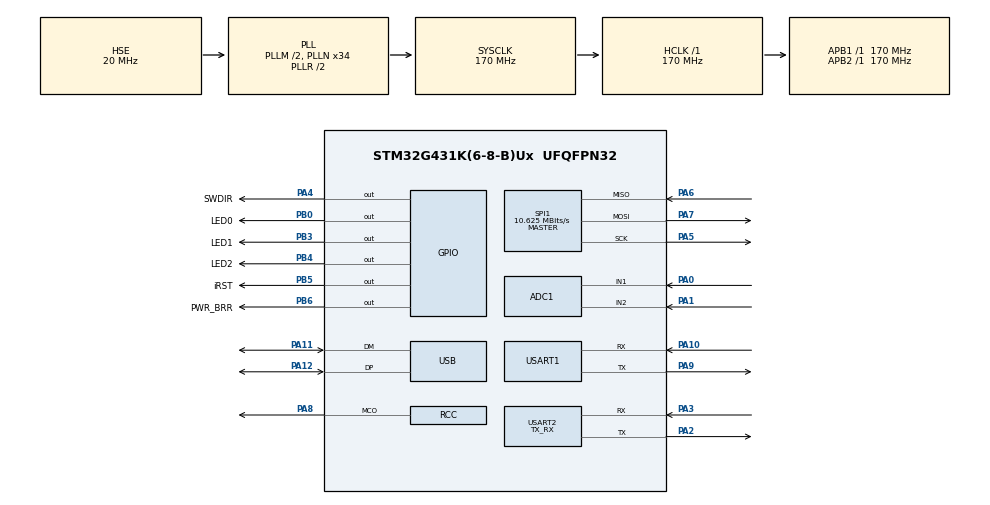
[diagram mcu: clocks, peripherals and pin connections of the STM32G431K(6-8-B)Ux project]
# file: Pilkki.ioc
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ADC1.Channel-0\#ChannelRegularConversion=ADC_CHANNEL_1
ADC1.Channel-1\#ChannelRegularConversion=ADC_CHANNEL_1
ADC1.ClockPrescaler=ADC_CLOCK_ASYNC_DIV8
ADC1.ContinuousConvMode=ENABLE
ADC1.DMAContinuousRequests=ENABLE
ADC1.EOCSelection=ADC_EOC_SEQ_CONV
ADC1.NbrOfConversion=2
ADC1.NbrOfConversionFlag=1
ADC1.OffsetNumber-0\#ChannelRegularConversion=ADC_OFFSET_NONE
ADC1.OffsetNumber-1\#ChannelRegularConversion=ADC_OFFSET_NONE
ADC1.OversamplingMode=ENABLE
ADC1.Rank-0\#ChannelRegularConversion=1
ADC1.Rank-1\#ChannelRegularConversion=2
ADC1.Ratio=ADC_OVERSAMPLING_RATIO_256
ADC1.RightBitShift=ADC_RIGHTBITSHIFT_4
ADC1.SamplingTime-0\#ChannelRegularConversion=ADC_SAMPLETIME_12CYCLES_5
ADC1.SamplingTime-1\#ChannelRegularConversion=ADC_SAMPLETIME_12CYCLES_5
ADC1.master=1
CRC.InputDataFormat=CRC_INPUTDATA_FORMAT_WORDS
CRC.InputDataInversionMode=CRC_INPUTDATA_INVERSION_WORD
CRC.OutputDataInversionMode=CRC_OUTPUTDATA_INVERSION_ENABLE
Dma.ADC1.0.Direction=DMA_PERIPH_TO_MEMORY
Dma.ADC1.0.EventEnable=DISABLE
Dma.ADC1.0.Instance=DMA1_Channel1
Dma.ADC1.0.MemDataAlignment=DMA_MDATAALIGN_HALFWORD
Dma.ADC1.0.MemInc=DMA_MINC_ENABLE
Dma.ADC1.0.Mode=DMA_CIRCULAR
Dma.ADC1.0.PeriphDataAlignment=DMA_PDATAALIGN_HALFWORD
Dma.ADC1.0.PeriphInc=DMA_PINC_DISABLE
Dma.ADC1.0.Polarity=HAL_DMAMUX_REQ_GEN_RISING
Dma.ADC1.0.Priority=DMA_PRIORITY_LOW
Dma.ADC1.0.RequestNumber=1
Dma.ADC1.0.SignalID=NONE
Dma.ADC1.0.SyncEnable=DISABLE
Dma.ADC1.0.SyncPolarity=HAL_DMAMUX_SYNC_NO_EVENT
Dma.ADC1.0.SyncRequestNumber=1
Dma.ADC1.0.SyncSignalID=NONE
Dma.Request0=ADC1
Mcu.Family=STM32G4
Mcu.Name=STM32G431K(6-8-B)Ux
Mcu.Package=UFQFPN32
NVIC.ADC1_2_IRQn=true\:1\:0\:true\:false\:true\:true\:true\:true
NVIC.DMA1_Channel1_IRQn=true\:0\:0\:false\:false\:true\:false\:true\:true
NVIC.PriorityGroup=NVIC_PRIORITYGROUP_4
NVIC.USB_LP_IRQn=true\:0\:0\:false\:false\:true\:false\:true\:true
PA0.Mode=IN1-Single-Ended
PA0.Signal=ADC1_IN1
PA1.Mode=IN2-Single-Ended
PA1.Signal=ADC1_IN2
PA10.Mode=Asynchronous
PA10.Signal=USART1_RX
PA11.Mode=Device
PA11.Signal=USB_DM
PA12.Mode=Device
PA12.Signal=USB_DP
PA13.Mode=Serial_Wire
PA13.Signal=SYS_JTMS-SWDIO
PA14.Mode=Serial_Wire
PA14.Signal=SYS_JTCK-SWCLK
PA2.Mode=Asynchronous
PA2.Signal=USART2_TX
PA3.Mode=Asynchronous
PA3.Signal=USART2_RX
PA4.GPIO_Label=SWDIR
PA4.GPIO_ModeDefaultOutputPP=GPIO_MODE_OUTPUT_PP
PA4.GPIO_PuPd=GPIO_NOPULL
PA4.GPIO_Speed=GPIO_SPEED_FREQ_VERY_HIGH
PA4.PinState=GPIO_PIN_RESET
PA4.Signal=GPIO_Output
PA5.GPIO_Speed=GPIO_SPEED_FREQ_VERY_HIGH
PA5.Mode=Full_Duplex_Master
PA5.Signal=SPI1_SCK
PA6.GPIO_PuPd=GPIO_PULLUP
PA6.GPIO_Speed=GPIO_SPEED_FREQ_VERY_HIGH
PA6.Mode=Full_Duplex_Master
PA6.Signal=SPI1_MISO
PA7.GPIO_Speed=GPIO_SPEED_FREQ_VERY_HIGH
PA7.Mode=Full_Duplex_Master
PA7.Signal=SPI1_MOSI
PA8.Mode=Clock-out
PA8.Signal=RCC_MCO
PA9.Mode=Asynchronous
PA9.Signal=USART1_TX
PB0.GPIO_Label=LED0
PB0.Signal=GPIO_Output
PB3.GPIO_Label=LED1
PB3.Signal=GPIO_Output
PB4.GPIO_Label=LED2
PB4.Signal=GPIO_Output
PB5.GPIO_Label=iRST
PB5.Signal=GPIO_Output
PB6.GPIO_Label=PWR_BRR
PB6.PinState=GPIO_PIN_SET
PB6.Signal=GPIO_Output
PF0-OSC_IN.Mode=HSE-External-Oscillator
PF0-OSC_IN.Signal=RCC_OSC_IN
PF1-OSC_OUT.Mode=HSE-External-Oscillator
PF1-OSC_OUT.Signal=RCC_OSC_OUT
ProjectManager.HeapSize=0x200
ProjectManager.StackSize=0x400
ProjectManager.TargetToolchain=STM32CubeIDE
RCC.ADC12Freq_Value=170000000
RCC.AHBFreq_Value=170000000
RCC.APB1Freq_Value=170000000
RCC.APB1TimFreq_Value=170000000
RCC.APB2Freq_Value=170000000
RCC.APB2TimFreq_Value=170000000
RCC.CK48CLockSelection=RCC_USBCLKSOURCE_HSI48
RCC.CortexFreq_Value=170000000
RCC.EXTERNAL_CLOCK_VALUE=12288000
RCC.HCLKFreq_Value=170000000
RCC.HSE_VALUE=20000000
RCC.HSI48_VALUE=48000000
RCC.HSI_VALUE=16000000
RCC.LSE_VALUE=32768
RCC.PLLM=RCC_PLLM_DIV2
RCC.PLLN=34
RCC.PLLSourceVirtual=RCC_PLLSOURCE_HSE
RCC.PREFETCH_ENABLE=1
RCC.RCC_MCO1Source=RCC_MCO1SOURCE_HSE
RCC.RCC_MCODiv=RCC_MCODIV_4
RCC.SYSCLKFreq_VALUE=170000000
RCC.SYSCLKSource=RCC_SYSCLKSOURCE_PLLCLK
RCC.USBFreq_Value=48000000
RCC.VCOOutputFreq_Value=340000000
SPI1.BaudRatePrescaler=SPI_BAUDRATEPRESCALER_16
SPI1.CLKPhase=SPI_PHASE_1EDGE
SPI1.CLKPolarity=SPI_POLARITY_LOW
SPI1.CalculateBaudRate=10.625 MBits/s
SPI1.DataSize=SPI_DATASIZE_8BIT
SPI1.Direction=SPI_DIRECTION_2LINES
SPI1.FirstBit=SPI_FIRSTBIT_LSB
SPI1.Mode=SPI_MODE_MASTER
SPI1.VirtualType=VM_MASTER
USART1.VirtualMode-Asynchronous=VM_ASYNC
USART2.Mode=MODE_TX_RX
USART2.SwapParam=ADVFEATURE_SWAP_DISABLE
USART2.VirtualMode-Asynchronous=VM_ASYNC
USB.Sof_enable=DISABLE
USB_DEVICE.CLASS_NAME_FS=CDC
USB_DEVICE.USBD_MAX_NUM_INTERFACES=2
USB_DEVICE.VirtualMode=Cdc
USB_DEVICE.VirtualModeFS=Cdc_FS
VP_CRC_VS_CRC.Mode=CRC_Activate
VP_RNG_VS_RNG.Mode=RNG_Activate
VP_USB_DEVICE_VS_USB_DEVICE_CDC_FS.Mode=CDC_FS
board=custom

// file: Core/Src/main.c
/* USER CODE BEGIN Header */
/**
  ******************************************************************************
  * @file           : main.c
  * @brief          : Main program body
  ******************************************************************************
  * @attention
  *
  * Copyright (c) 2023 STMicroelectronics.
  * All rights reserved.
  *
  * This software is licensed under terms that can be found in the LICENSE file
  * in the root directory of this software component.
  * If no LICENSE file comes with this software, it is provided AS-IS.
  *
  ******************************************************************************
  */
/* USER CODE END Header */
#include "main.h"
#include "adc.h"
#include "crc.h"
#include "dma.h"
#include "rng.h"
#include "spi.h"
#include "usart.h"
#include "usb_device.h"
#include "gpio.h"

/* USER CODE BEGIN Includes */
#include <math.h>
#include <string.h>
#include <stdint.h>
#include <stdio.h>
#include <stdlib.h>
#include <stdarg.h>

#include "dap.h"
#include "utils.h"
#include "flash_write.h"
#include "use_flashloader.h"

#include "efm32.h"

#include "usbd_cdc_if.h"
#include "usbd_cdc.h"
/* USER CODE END Includes */

/* USER CODE BEGIN PD */
#define UART_FIFO	128

#define WRITE_BUFFER 4096

//#define SPI1_DR_8bit (*(__IO uint8_t *)((uint32_t)&(SPI1->DR)))
//#define SPI1_DR_16bit (*(__IO uint16_t *)((uint32_t)&(SPI1->DR)))

#define FIRMWARE_REVISION 19

#define USB_FIFO_RX 1024
/* USER CODE END PD */

/* USER CODE BEGIN PV */

uint32_t Seccount = 0;
char buff[UART_FIFO]; // __attribute__((section(".ram2")));
//char SubBuff[UART_FIFO];
//char UartRX[UART_FIFO];

uint32_t WriteBuffer[WRITE_BUFFER];
volatile uint8_t * WriteBufP;
volatile uint8_t UsbRxFifo[USB_FIFO_RX]; // __attribute__((section(".ram2")));
volatile bool DirectBuf = false;
volatile uint32_t BufReceived;
volatile uint32_t sBytes;

uint16_t RxFifoWrPointer = 0;
uint16_t RxFifoRdPointer = 0;
uint16_t RxFifoRecords = 0;
uint32_t UsbPackBuffer[128]; // __attribute__((section(".ram2")));
uint16_t UsbPackBufferP = 0;
uint32_t UsbSubBuf[128]; // __attribute__((section(".ram2")));

uint32_t Unique_ID_0;

uint32_t PageSize;
uint32_t FlashSize;
uint32_t RamSize;

bool TxBusy = false;
uint32_t tickstart;
uint32_t ErrorFlag = 0;

struct UartDma_t
{
	size_t head, tail;
	uint8_t RingBuff[128];
} UartDma;// __attribute__((section(".ram2")));

uint32_t IdCode;

struct
{
	uint8_t CmdSize;
	char CmdIn[32];
	bool CMD;
} usb;

/* USER CODE END PV */

void SystemClock_Config(void);
/* USER CODE BEGIN PFP */
bool SwdAdrStart(bool APDP, bool RW, uint8_t ADDR);
bool ReadCrc(uint32_t Addr, uint32_t Len, uint32_t * Crc);
/* USER CODE END PFP */

/* USER CODE BEGIN 0 */

uint8_t SpiSendByte(uint8_t data)
{
	while (!(SPI1->SR & SPI_SR_TXE)) ;
	SPI1_DR_8bit = data;
	while (!(SPI1->SR & SPI_SR_RXNE)) ;
	return SPI1_DR_8bit;
}

uint16_t SpiSendWord(uint16_t data)
{
	while (!(SPI1->SR & SPI_SR_TXE)) ;
	SPI1_DR_16bit = data;
	while (!(SPI1->SR & SPI_SR_RXNE)) ;
	return SPI1_DR_16bit;
}

void uPrintf(const char* fmt, ...) {

	uint16_t bts;
	va_list args;
	va_start(args, fmt);
	bts = vsnprintf(buff, sizeof(buff), fmt, args);
	va_end(args);
	//	memcpy(SubBuff, buff, bts);
	//	TxBusy = true;

	tickstart = HAL_GetTick();
	while (CDC_Transmit_FS((uint8_t*)buff, bts))
	{
		if (HAL_GetTick() - tickstart > 100) break;
	}

	//HAL_UART_Transmit_DMA(&huart2, (uint8_t*)SubBuff, bts);
}

void HAL_UART_TxCpltCallback(UART_HandleTypeDef *huart)
{
	if (huart->Instance == huart2.Instance) TxBusy = false;
}

uint8_t FifoGet()
{

	__disable_irq();
	if (RxFifoRecords) {
		uint8_t Data = UsbRxFifo[RxFifoRdPointer++];
		if (RxFifoRdPointer >= USB_FIFO_RX) RxFifoRdPointer = 0;
		RxFifoRecords--;
		__enable_irq();
		return Data;
	}
	__enable_irq();
	return 0;
}

uint16_t FifoSizeGet()
{
	uint16_t Records;
	__disable_irq();
	Records = RxFifoRecords;
	__enable_irq();
	return Records;
}

bool ReadCrc(uint32_t Addr, uint32_t Len, uint32_t * Crc)
{
	static uint32_t Size, Wrd, addr;
	__HAL_CRC_DR_RESET(&hcrc);
	haltTarget();
	uint32_t tarWrap =  getTarWrap();

	if (ErrorFlag != 1) uPrintf("Connect error\r\n");
	else
	{
		writeAP(AP_CSW, AP_CSW_DEFAULT | AP_CSW_AUTO_INCREMENT);
		writeAP(AP_TAR, Addr);
		readAP(AP_DRW, &Wrd);

		uint8_t cr = 0;
		for (uint32_t j = 0; j < Len; j++)
		{
			addr = Addr + (j << 2);
			if ((addr & tarWrap) == 0)
			{
				writeAP(AP_TAR, addr);
				readAP(AP_DRW, &Wrd);
			}
			readAP(AP_DRW, &Wrd);

			CRC->DR = Wrd;
			if (ErrorFlag != 1)
			{
				uPrintf("Read error\r\n");
				return false;
			}
		}

		* Crc = (CRC->DR ^ -1UL);

		writeAP(AP_CSW, AP_CSW_DEFAULT);

		if (ErrorFlag != 1) return false;
	}
	return true;
}

void StartBoot()
{

	MX_USB_DEVICE_Stop();

	HAL_RCC_DeInit();

	SysTick->CTRL = SysTick->LOAD = SysTick->VAL = 0;
	__HAL_SYSCFG_REMAPMEMORY_SYSTEMFLASH();
	__HAL_RCC_SYSCFG_CLK_ENABLE();

	const uint32_t p = (*((uint32_t *) 0x1FFF0000));
	__set_MSP(p);

	void(*SysMemBootJump)(void);
	SysMemBootJump = (void(*)(void))(*((uint32_t *) 0x1FFF0004));
	SysMemBootJump();

	while (1) {}

}

/* USER CODE END 0 */

int main(void)
{

	/* MCU Configuration--------------------------------------------------------*/

	/* Reset of all peripherals, Initializes the Flash interface and the Systick. */
	HAL_Init();

	/* Configure the system clock */
	SystemClock_Config();

	/* Initialize all configured peripherals */
	MX_GPIO_Init();
	MX_DMA_Init();
	MX_ADC1_Init();
	MX_CRC_Init();
	MX_RNG_Init();
	MX_SPI1_Init();
	MX_USART1_UART_Init();
	MX_USART2_UART_Init();
	MX_USB_Device_Init();
	/* USER CODE BEGIN 2 */

	uint8_t i;
	SWDIO_SET_INPUT();

	LEDR(1);
	LEDB(1);
	LEDY(1);

	HAL_Delay(500);

	LEDR(0);
	LEDB(0);
	LEDY(0);

	uPrintf("\r\nReady\r\n");
	usb.CmdSize = 0;
	usb.CMD = true;

	Unique_ID_0 = HAL_CRC_Calculate(&hcrc, (uint32_t *)0x1FFF7590, 12) ^ -1UL;

	SPI1->CR1 |= SPI_CR1_SPE; //en spi
	SPI1->CR2 = 0x1F08; //set 16 bit

	uint32_t Rxd;
	uint16_t Rx1, Rx2;
	uint8_t Rxack;

	while (true)
	{
		if (FifoSizeGet())
		{

			if (usb.CMD)
			{
				usb.CmdIn[usb.CmdSize] = (char)FifoGet();
				if (usb.CmdSize > 31) usb.CmdSize = 0;
				if (usb.CmdIn[usb.CmdSize++] == '\n')
				{
					LEDB(1);
					LEDR(0);

					usb.CmdIn[usb.CmdSize] = 0;
					usb.CmdSize = 0;

					//parsing requests

					if (strstr(usb.CmdIn, "bootloader"))
					{
						uPrintf("Starting Bootloader\r\n***\r\n");
						HAL_Delay(100);
						StartBoot();
					}
					else

						//get maximum rx buffer in 32 bit words
					if (strstr(usb.CmdIn, "bufsize"))
					{
						uPrintf("MaxBuf = %lu Words\r\n***\r\n", WRITE_BUFFER);
					}
					else
						//connect to target
					if (strstr(usb.CmdIn, "con"))
					{
						if (!connectToTarget())
						{
							uPrintf("Connect error\r\n***\r\n");
							LEDR(1);
						}
						else
						{
							PageSize = getPageSize();

							if (ErrorFlag != 1)
							{
								uPrintf("Connect error\r\n***\r\n");
								LEDR(1);
								continue;
							}

							FlashSize = getFlashSize();

							if (ErrorFlag != 1)
							{
								uPrintf("Connect error\r\n***\r\n");
								LEDR(1);
								continue;
							}

							RamSize = getRamSize();

							if (ErrorFlag != 1)
							{
								uPrintf("Connect error\r\n***\r\n");
								LEDR(1);
								continue;
							}

							uPrintf("PageSize %u\r\n", PageSize);
							uPrintf("FlashSize %u\r\n", FlashSize);
							uPrintf("RamSize %u\r\n***\r\n", RamSize);

						}
					}
					else
						//target reset
					if (strstr(usb.CmdIn, "loader"))
					{

						if (LoadLoader()) uPrintf("Loader OK\r\n***\r\n");
						else
						{
							uPrintf("Loader error\r\n***\r\n");
							LEDR(1);
						}

					}
					else
						//target reset
					if (strstr(usb.CmdIn, "res"))
					{
						//hardware reset
						if (strstr(usb.CmdIn, "-h"))
						{
							uPrintf("Resetting (hard)\r\n");
							hardResetTarget();
							uPrintf("Hard reset OK\r\n***\r\n");
						}
						else
						{
							uPrintf("Resetting (soft)\r\n");
							resetTarget();
							if (ErrorFlag == 1) uPrintf("Soft reset OK\r\n***\r\n");
							else
							{
								uPrintf("Connect error\r\n***\r\n");
								LEDR(1);
							}
						}
					}
					else
						//erase pages
					if (strstr(usb.CmdIn, "erase"))
					{
						char * pEnd = strstr(usb.CmdIn, " ");
						uint32_t StartAddr, Size, Wrd;
						if (strstr(pEnd, "0x")) StartAddr = strtol(pEnd, &pEnd, 16);
						else StartAddr = strtol(pEnd, &pEnd, 10);

						if (strstr(pEnd, "0x")) Size = strtol(pEnd, &pEnd, 16);
						else Size = strtol(pEnd, &pEnd, 10);

						if (Size == 0 || Size > (FlashSize / PageSize))
						{
							uPrintf("Wrong request\r\n***\r\n");
							LEDR(1);
						}
						else
						{
							uPrintf("Erasing Flash with Loader, Start: 0x%08lX, Len: %u Pages\r\n", StartAddr, Size);

							sendErasePageCmd(StartAddr, Size * PageSize);
							if (ErrorFlag != 1)
							{
								uPrintf("Erase error\r\n***\r\n");
								LEDR(1);
							}
							else uPrintf("Erase Done\r\n***\r\n");

						}

					}
					else
						//read data
					if (strstr(usb.CmdIn, "rd"))
					{
						char * pEnd = strstr(usb.CmdIn, " ");
						static uint32_t StartAddr, Size, Wrd, addr;
						if (strstr(pEnd, "0x")) StartAddr = strtol(pEnd, &pEnd, 16);
						else StartAddr = strtol(pEnd, &pEnd, 10);

						StartAddr &= 0xFFFFFFFC; //words only

						if (strstr(pEnd, "0x")) Size = strtol(pEnd, &pEnd, 16);
						else Size = strtol(pEnd, &pEnd, 10);

						if (Size == 0)
						{
							uPrintf("Wrong request\r\n***\r\n");
							LEDR(1);
						}
						else
						{
							__HAL_CRC_DR_RESET(&hcrc);

							haltTarget();

							uint32_t tarWrap =  getTarWrap();
							if (ErrorFlag != 1)
							{
								uPrintf("Connect error\r\n***\r\n");
								LEDR(1);
							}
							else
							{
								if (strstr(usb.CmdIn, "-h"))
								{

									uPrintf("Reading memory, Start: 0x%08lX, Len: %u Words\r\n", StartAddr, Size);
									writeAP(AP_CSW, AP_CSW_DEFAULT | AP_CSW_AUTO_INCREMENT);
									writeAP(AP_TAR, StartAddr);
									readAP(AP_DRW, &Wrd);

									uint8_t cr = 0;
									for (uint32_t j = 0; j < Size; j++)
									{
										addr = StartAddr + (j << 2);
										if (!cr) uPrintf("0x%08lX: ", addr);

										if ((addr & tarWrap) == 0)
										{
											writeAP(AP_TAR, addr);
											readAP(AP_DRW, &Wrd);
										}
										readAP(AP_DRW, &Wrd);

										CRC->DR = Wrd;
										uPrintf("%08lX ", Wrd);
										if (ErrorFlag != 1)
										{
											uPrintf("\r\nRead error\r\n***\r\n");
											LEDR(1);
											break;
										}
										cr++;
										if (cr == 8)
										{
											uPrintf("\r\n");
											cr = 0;
										}
									}
									if (cr) uPrintf("\r\n");
									uPrintf("CRC: 0x%08lX\r\n", CRC->DR ^ -1UL);
									if (ErrorFlag == 1) uPrintf("Read Done\r\n***\r\n");

									writeAP(AP_CSW, AP_CSW_DEFAULT);

								}
								else
								{
									//uPrintf("Bin,%lu,%lu:", StartAddr, Size);

									UsbPackBufferP = 0;

									writeAP(AP_CSW, AP_CSW_DEFAULT | AP_CSW_AUTO_INCREMENT);
									writeAP(AP_TAR, StartAddr);
									readAP(AP_DRW, &Wrd);

									for (uint32_t j = 0; j < Size; j++)
									{
										addr = StartAddr + (j << 2);
										if ((addr & tarWrap) == 0)
										{
											writeAP(AP_TAR, addr);
											readAP(AP_DRW, &Wrd);
										}
										readAP(AP_DRW, &Wrd);

										CRC->DR = Wrd;
										if (ErrorFlag != 1)
										{
											uPrintf("error\r\n***\r\n");
											LEDR(1);
											break;
										}
										tickstart = HAL_GetTick();

										UsbPackBuffer[UsbPackBufferP++] = Wrd;

										if (UsbPackBufferP == 128 || j == Size - 1)
										{
											while (UsbCheckBusy()) ;
											memcpy(UsbSubBuf, UsbPackBuffer, UsbPackBufferP << 2);
											while (CDC_Transmit_FS((uint8_t*)&UsbSubBuf, UsbPackBufferP << 2))
												//while (CDC_Transmit_FS((uint8_t*)&Wrd, 4))
											{
												if (HAL_GetTick() - tickstart > 200) break;
											}
											UsbPackBufferP = 0;
										}

									}

									writeAP(AP_CSW, AP_CSW_DEFAULT);

									Wrd = CRC->DR ^ -1UL;

									tickstart = HAL_GetTick();
									while (CDC_Transmit_FS((uint8_t*)&Wrd, 4))
									{
										if (HAL_GetTick() - tickstart > 100) break;
									}

									if (ErrorFlag == 1) uPrintf("Done");
								}

							}

						}

					}
					else
						//get ID
					if (strstr(usb.CmdIn, "id"))
					{
						uPrintf("EFM32PG2x SWD Programmer r.%u 'Cambucha' UID:%08lX\r\n***\r\n",
							FIRMWARE_REVISION,
							Unique_ID_0);
					}
					else
						//halt
					if (strstr(usb.CmdIn, "halt"))
					{
						uPrintf("Halting\r\n");
						haltTarget();
						if (ErrorFlag != 1)
						{
							uPrintf("error\r\n***\r\n");
							LEDR(1);
						}
						else uPrintf("Halt OK\r\n***\r\n");
					}
					else
						//run
					if (strstr(usb.CmdIn, "run"))
					{
						uPrintf("Starting\r\n");
						runTarget();
						if (ErrorFlag != 1)
						{
							uPrintf("error\r\n***\r\n");
							LEDR(1);
						}
						else uPrintf("Run OK\r\n***\r\n");
					}
					else
						//CRC
					if (strstr(usb.CmdIn, "crc"))
					{
						uint32_t Crc;
						char * pEnd = strstr(usb.CmdIn, " ");
						static uint32_t StartAddr, Size, Wrd, addr;
						if (strstr(pEnd, "0x")) StartAddr = strtol(pEnd, &pEnd, 16);
						else StartAddr = strtol(pEnd, &pEnd, 10);

						StartAddr &= 0xFFFFFFFC; //words only

						if (strstr(pEnd, "0x")) Size = strtol(pEnd, &pEnd, 16);
						else Size = strtol(pEnd, &pEnd, 10);

						//uPrintf("Counting CRC, Start: 0x%08lX, Len: %u Words\r\n", StartAddr, Size);

						if (StartAddr == 0 || Size == 0)
						{
							uPrintf("Wrong request\r\n***\r\n");
							LEDR(1);
						}
						else
						{
							if (ReadCrc(StartAddr, Size, &Crc))
							{
								uPrintf("Crc32 = 0x%08lX\r\n***\r\n", Crc);
							}
							else
							{
								uPrintf("error\r\n***\r\n");
								LEDR(1);
							}
						}
					}
					else
						// Write
					if (strstr(usb.CmdIn, "writebuffer"))
					{
						char * pEnd = strstr(usb.CmdIn, " ");
						static uint32_t StartAddr, Size, Wrd, addr;
						if (strstr(pEnd, "0x")) StartAddr = strtol(pEnd, &pEnd, 16);
						else StartAddr = strtol(pEnd, &pEnd, 10);

						if (strstr(pEnd, "0x")) Size = strtol(pEnd, &pEnd, 16);
						else Size = strtol(pEnd, &pEnd, 10);

						StartAddr &= 0xFFFFFFFC; //words only

						uploadImageToFlashloader(StartAddr, WriteBuffer, Size << 2);

						if (ErrorFlag != 1)
						{
							uPrintf("error\r\n***\r\n");
							LEDR(1);
						}
						else
							uPrintf("Write OK\r\n***\r\n");
						//							}
					}
					else
						// Load Buffer
					if (strstr(usb.CmdIn, "loadbuffer"))
					{
						char * pEnd = strstr(usb.CmdIn, " ");
						static uint32_t Size, Wrd, BufAddr;
						if (strstr(pEnd, "0x")) Size = strtol(pEnd, &pEnd, 16);
						else Size = strtol(pEnd, &pEnd, 10);
						if (Size > WRITE_BUFFER)
						{
							uPrintf("error buffer overflow\r\n***\r\n");
							LEDR(1);
						}
						else
						{
							uPrintf("Load ready\r\n***\r\n");
							DirectBuf = true;
							WriteBufP = (uint8_t*)&WriteBuffer;
							BufReceived = 0;
							sBytes = Size << 2;

							while (BufReceived < sBytes) ;

							uPrintf("Buffer Loaded with %lu words\r\n***\r\n", Size);
							DirectBuf = false;
						}
					}
					else
					{
						if (strlen(usb.CmdIn) > 1)
						{
							uPrintf("Invalid request\r\n***\r\n");
							LEDR(1);
						}

					}

				}

			}
			LEDB(0);
			SWDIO_SET_INPUT();
		}

	}

	/* USER CODE END 2 */

	/* Infinite loop */
	while (1)
	{

	}
}

void SystemClock_Config(void)
{
	RCC_OscInitTypeDef RCC_OscInitStruct = { 0 };
	RCC_ClkInitTypeDef RCC_ClkInitStruct = { 0 };

	/** Configure the main internal regulator output voltage
	*/
	HAL_PWREx_ControlVoltageScaling(PWR_REGULATOR_VOLTAGE_SCALE1_BOOST);

	/** Initializes the RCC Oscillators according to the specified parameters
	* in the RCC_OscInitTypeDef structure.
	*/
	RCC_OscInitStruct.OscillatorType = RCC_OSCILLATORTYPE_HSI48 | RCC_OSCILLATORTYPE_HSE;
	RCC_OscInitStruct.HSEState = RCC_HSE_ON;
	RCC_OscInitStruct.HSI48State = RCC_HSI48_ON;
	RCC_OscInitStruct.PLL.PLLState = RCC_PLL_ON;
	RCC_OscInitStruct.PLL.PLLSource = RCC_PLLSOURCE_HSE;
	RCC_OscInitStruct.PLL.PLLM = RCC_PLLM_DIV2;
	RCC_OscInitStruct.PLL.PLLN = 34;
	RCC_OscInitStruct.PLL.PLLP = RCC_PLLP_DIV2;
	RCC_OscInitStruct.PLL.PLLQ = RCC_PLLQ_DIV2;
	RCC_OscInitStruct.PLL.PLLR = RCC_PLLR_DIV2;
	if (HAL_RCC_OscConfig(&RCC_OscInitStruct) != HAL_OK)
	{
		Error_Handler();
	}

	/** Initializes the CPU, AHB and APB buses clocks
	*/
	RCC_ClkInitStruct.ClockType = RCC_CLOCKTYPE_HCLK | RCC_CLOCKTYPE_SYSCLK
	                            | RCC_CLOCKTYPE_PCLK1 | RCC_CLOCKTYPE_PCLK2;
	RCC_ClkInitStruct.SYSCLKSource = RCC_SYSCLKSOURCE_PLLCLK;
	RCC_ClkInitStruct.AHBCLKDivider = RCC_SYSCLK_DIV1;
	RCC_ClkInitStruct.APB1CLKDivider = RCC_HCLK_DIV1;
	RCC_ClkInitStruct.APB2CLKDivider = RCC_HCLK_DIV1;

	if (HAL_RCC_ClockConfig(&RCC_ClkInitStruct, FLASH_LATENCY_4) != HAL_OK)
	{
		Error_Handler();
	}
	HAL_RCC_MCOConfig(RCC_MCO1, RCC_MCO1SOURCE_HSE, RCC_MCODIV_4);
}

void Error_Handler(void)
{
	__disable_irq();
	while (1)
	{
	}
}
